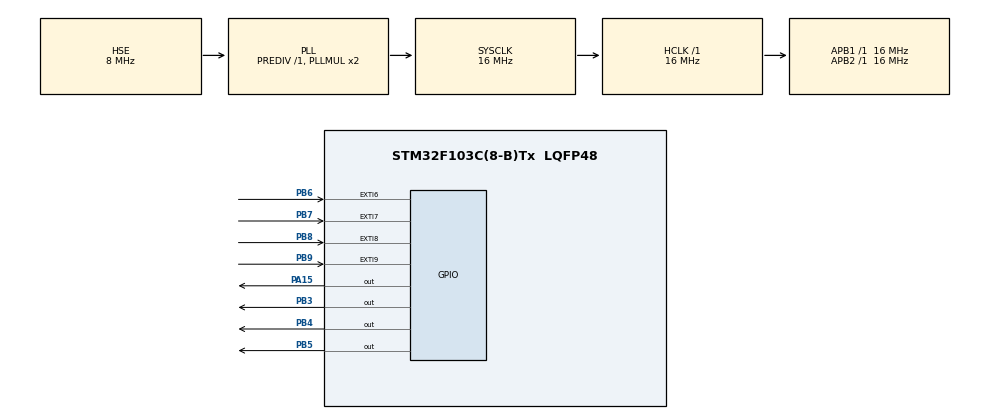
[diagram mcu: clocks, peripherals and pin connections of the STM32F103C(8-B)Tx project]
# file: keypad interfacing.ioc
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Mcu.Family=STM32F1
Mcu.Name=STM32F103C(8-B)Tx
Mcu.Package=LQFP48
NVIC.PriorityGroup=NVIC_PRIORITYGROUP_4
PA13.Mode=Serial_Wire
PA13.Signal=SYS_JTMS-SWDIO
PA14.Mode=Serial_Wire
PA14.Signal=SYS_JTCK-SWCLK
PA15.GPIO_Speed=GPIO_SPEED_FREQ_HIGH
PA15.Signal=GPIO_Output
PB3.GPIO_Speed=GPIO_SPEED_FREQ_HIGH
PB3.Signal=GPIO_Output
PB4.GPIO_Speed=GPIO_SPEED_FREQ_HIGH
PB4.Signal=GPIO_Output
PB5.GPIO_Speed=GPIO_SPEED_FREQ_HIGH
PB5.Signal=GPIO_Output
PB6.GPIO_PuPd=GPIO_PULLDOWN
PB6.Signal=GPXTI6
PB7.GPIO_PuPd=GPIO_PULLDOWN
PB7.Signal=GPXTI7
PB8.GPIO_PuPd=GPIO_PULLDOWN
PB8.Signal=GPXTI8
PB9.GPIO_PuPd=GPIO_PULLDOWN
PB9.Signal=GPXTI9
PD0-OSC_IN.Mode=HSE-External-Oscillator
PD0-OSC_IN.Signal=RCC_OSC_IN
PD1-OSC_OUT.Mode=HSE-External-Oscillator
PD1-OSC_OUT.Signal=RCC_OSC_OUT
ProjectManager.HeapSize=0x200
ProjectManager.StackSize=0x400
ProjectManager.TargetToolchain=STM32CubeIDE
RCC.AHBFreq_Value=16000000
RCC.APB1Freq_Value=16000000
RCC.APB1TimFreq_Value=16000000
RCC.APB2Freq_Value=16000000
RCC.APB2TimFreq_Value=16000000
RCC.HCLKFreq_Value=16000000
RCC.PLLSourceVirtual=RCC_PLLSOURCE_HSE
RCC.SYSCLKFreq_VALUE=16000000
RCC.SYSCLKSource=RCC_SYSCLKSOURCE_PLLCLK
RCC.USBFreq_Value=16000000
board=custom

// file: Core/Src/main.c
/* USER CODE BEGIN Header */
/**
  ******************************************************************************
  * @file           : main.c
  * @brief          : Main program body
  ******************************************************************************
  * @attention
  *
  * <h2><center>&copy; Copyright (c) 2021 STMicroelectronics.
  * All rights reserved.</center></h2>
  *
  * This software component is licensed by ST under BSD 3-Clause license,
  * the "License"; You may not use this file except in compliance with the
  * License. You may obtain a copy of the License at:
  *                        opensource.org/licenses/BSD-3-Clause
  *
  ******************************************************************************
  */
/* USER CODE END Header */
#include "main.h"

/* USER CODE BEGIN PV */
 GPIO_InitTypeDef GPIO_InitStructPrivate = {0};
 uint32_t previousMillis = 0;
 uint32_t currentMillis = 0;
 uint32_t keyPressed= 0;
 uint32_t key=0;
/* USER CODE END PV */

void SystemClock_Config(void);
static void MX_GPIO_Init(void);

int main(void)
{

  /* MCU Configuration--------------------------------------------------------*/

  /* Reset of all peripherals, Initializes the Flash interface and the Systick. */
  HAL_Init();

  /* Configure the system clock */
  SystemClock_Config();

  /* Initialize all configured peripherals */
  MX_GPIO_Init();
  /* USER CODE BEGIN 2 */
  HAL_GPIO_WritePin(GPIOA, GPIO_PIN_15, 1);
  HAL_GPIO_WritePin(GPIOB, GPIO_PIN_3 , 1);
  HAL_GPIO_WritePin(GPIOB, GPIO_PIN_4, 1);
  HAL_GPIO_WritePin(GPIOB, GPIO_PIN_5 , 1);

  /* USER CODE END 2 */

  /* Infinite loop */
  while (1)
  {

  }
}

void SystemClock_Config(void)
{
  RCC_OscInitTypeDef RCC_OscInitStruct = {0};
  RCC_ClkInitTypeDef RCC_ClkInitStruct = {0};

  /** Initializes the RCC Oscillators according to the specified parameters
  * in the RCC_OscInitTypeDef structure.
  */
  RCC_OscInitStruct.OscillatorType = RCC_OSCILLATORTYPE_HSE;
  RCC_OscInitStruct.HSEState = RCC_HSE_ON;
  RCC_OscInitStruct.HSEPredivValue = RCC_HSE_PREDIV_DIV1;
  RCC_OscInitStruct.HSIState = RCC_HSI_ON;
  RCC_OscInitStruct.PLL.PLLState = RCC_PLL_ON;
  RCC_OscInitStruct.PLL.PLLSource = RCC_PLLSOURCE_HSE;
  RCC_OscInitStruct.PLL.PLLMUL = RCC_PLL_MUL2;
  if (HAL_RCC_OscConfig(&RCC_OscInitStruct) != HAL_OK)
  {
    Error_Handler();
  }
  /** Initializes the CPU, AHB and APB buses clocks
  */
  RCC_ClkInitStruct.ClockType = RCC_CLOCKTYPE_HCLK|RCC_CLOCKTYPE_SYSCLK
                              |RCC_CLOCKTYPE_PCLK1|RCC_CLOCKTYPE_PCLK2;
  RCC_ClkInitStruct.SYSCLKSource = RCC_SYSCLKSOURCE_PLLCLK;
  RCC_ClkInitStruct.AHBCLKDivider = RCC_SYSCLK_DIV1;
  RCC_ClkInitStruct.APB1CLKDivider = RCC_HCLK_DIV1;
  RCC_ClkInitStruct.APB2CLKDivider = RCC_HCLK_DIV1;

  if (HAL_RCC_ClockConfig(&RCC_ClkInitStruct, FLASH_LATENCY_0) != HAL_OK)
  {
    Error_Handler();
  }
}

static void MX_GPIO_Init(void)
{
  GPIO_InitTypeDef GPIO_InitStruct = {0};

  /* GPIO Ports Clock Enable */
  __HAL_RCC_GPIOD_CLK_ENABLE();
  __HAL_RCC_GPIOA_CLK_ENABLE();
  __HAL_RCC_GPIOB_CLK_ENABLE();

  /*Configure GPIO pin Output Level */
  HAL_GPIO_WritePin(GPIOA, GPIO_PIN_15, GPIO_PIN_RESET);

  /*Configure GPIO pin Output Level */
  HAL_GPIO_WritePin(GPIOB, GPIO_PIN_3|GPIO_PIN_4|GPIO_PIN_5, GPIO_PIN_RESET);

  /*Configure GPIO pin : PA15 */
  GPIO_InitStruct.Pin = GPIO_PIN_15;
  GPIO_InitStruct.Mode = GPIO_MODE_OUTPUT_PP;
  GPIO_InitStruct.Pull = GPIO_NOPULL;
  GPIO_InitStruct.Speed = GPIO_SPEED_FREQ_HIGH;
  HAL_GPIO_Init(GPIOA, &GPIO_InitStruct);

  /*Configure GPIO pins : PB3 PB4 PB5 */
  GPIO_InitStruct.Pin = GPIO_PIN_3|GPIO_PIN_4|GPIO_PIN_5;
  GPIO_InitStruct.Mode = GPIO_MODE_OUTPUT_PP;
  GPIO_InitStruct.Pull = GPIO_NOPULL;
  GPIO_InitStruct.Speed = GPIO_SPEED_FREQ_HIGH;
  HAL_GPIO_Init(GPIOB, &GPIO_InitStruct);

  /*Configure GPIO pins : PB6 PB7 PB8 PB9 */
  GPIO_InitStruct.Pin = GPIO_PIN_6|GPIO_PIN_7|GPIO_PIN_8|GPIO_PIN_9;
  GPIO_InitStruct.Mode = GPIO_MODE_IT_RISING;
  GPIO_InitStruct.Pull = GPIO_PULLDOWN;
  HAL_GPIO_Init(GPIOB, &GPIO_InitStruct);

}

/* USER CODE BEGIN 4 */
void HAL_GPIO_EXIT_Callback(uint16_t GPIO_Pin)
{
currentMillis = HAL_GetTick();
if (currentMillis - previousMillis >10){
 /*Configure GPIO pins : PB6 PB7 PB8 PB9 to GPIO_INPUT*/
 GPIO_InitStructPrivate.Pin = GPIO_PIN_6|GPIO_PIN_7|GPIO_PIN_8|GPIO_PIN_9;
 GPIO_InitStructPrivate.Mode = GPIO_MODE_IT_RISING;
 GPIO_InitStructPrivate.Pull = GPIO_NOPULL;
 GPIO_InitStructPrivate.Speed = GPIO_SPEED_FREQ_LOW;
 HAL_GPIO_Init(GPIOB, &GPIO_InitStructPrivate);

 HAL_GPIO_WritePin(GPIOA, GPIO_PIN_15, 1);
 HAL_GPIO_WritePin(GPIOA, GPIO_PIN_3, 0);
 HAL_GPIO_WritePin(GPIOA, GPIO_PIN_4, 0);
 HAL_GPIO_WritePin(GPIOA, GPIO_PIN_5, 0);

 if(GPIO_Pin==GPIO_PIN_6 && HAL_GPIO_ReadPin(GPIOB,GPIO_PIN_6))
 {
 keyPressed=68;
 }
 if(GPIO_Pin==GPIO_PIN_7 && HAL_GPIO_ReadPin(GPIOB,GPIO_PIN_7))
 {
   keyPressed=67;
 }
 if(GPIO_Pin==GPIO_PIN_8 && HAL_GPIO_ReadPin(GPIOB,GPIO_PIN_8))
 {
   keyPressed=66;
 }
 if(GPIO_Pin==GPIO_PIN_9 && HAL_GPIO_ReadPin(GPIOB,GPIO_PIN_9))
 {
   keyPressed =65;
 }

 HAL_GPIO_WritePin(GPIOA, GPIO_PIN_15, 0);
 HAL_GPIO_WritePin(GPIOA, GPIO_PIN_3, 1);
 HAL_GPIO_WritePin(GPIOA, GPIO_PIN_4, 0);
 HAL_GPIO_WritePin(GPIOA, GPIO_PIN_5, 0);

 if(GPIO_Pin==GPIO_PIN_6 && HAL_GPIO_ReadPin(GPIOB,GPIO_PIN_6))
 {
   keyPressed=35;
 }
 if(GPIO_Pin==GPIO_PIN_7 && HAL_GPIO_ReadPin(GPIOB,GPIO_PIN_7))
 {
   keyPressed=57;
 }
 if(GPIO_Pin==GPIO_PIN_8 && HAL_GPIO_ReadPin(GPIOB,GPIO_PIN_8))
 {
   keyPressed=54;
 }
 if(GPIO_Pin==GPIO_PIN_9 && HAL_GPIO_ReadPin(GPIOB,GPIO_PIN_9))
 {
   keyPressed=51;
 }

 HAL_GPIO_WritePin(GPIOA, GPIO_PIN_15, 0);
 HAL_GPIO_WritePin(GPIOA, GPIO_PIN_3, 0);
 HAL_GPIO_WritePin(GPIOA, GPIO_PIN_4, 1);
 HAL_GPIO_WritePin(GPIOA, GPIO_PIN_5, 0);

 if(GPIO_Pin==GPIO_PIN_6 && HAL_GPIO_ReadPin(GPIOB,GPIO_PIN_6))
 {
   keyPressed=48;
 }
 if(GPIO_Pin==GPIO_PIN_7 && HAL_GPIO_ReadPin(GPIOB,GPIO_PIN_7))
 {
   keyPressed=56;
 }
 if(GPIO_Pin==GPIO_PIN_8 && HAL_GPIO_ReadPin(GPIOB,GPIO_PIN_8))
 {
   keyPressed=53;
 }
 if(GPIO_Pin==GPIO_PIN_9 && HAL_GPIO_ReadPin(GPIOB,GPIO_PIN_9))
 {
   keyPressed=50;
 }

  HAL_GPIO_WritePin(GPIOA, GPIO_PIN_15, 0);
  HAL_GPIO_WritePin(GPIOA, GPIO_PIN_3, 0);
  HAL_GPIO_WritePin(GPIOA, GPIO_PIN_4, 0);
  HAL_GPIO_WritePin(GPIOA, GPIO_PIN_5, 1);

  if(GPIO_Pin == GPIO_PIN_6 && HAL_GPIO_ReadPin(GPIOB,GPIO_PIN_6))
  {
   keyPressed=42;
  }
  if(GPIO_Pin==GPIO_PIN_7 && HAL_GPIO_ReadPin(GPIOB,GPIO_PIN_7))
  {
   keyPressed=55;
  }
  if(GPIO_Pin==GPIO_PIN_8 && HAL_GPIO_ReadPin(GPIOB,GPIO_PIN_8))
  {
   keyPressed=52;
  }
  if(GPIO_Pin==GPIO_PIN_9 && HAL_GPIO_ReadPin(GPIOB,GPIO_PIN_9))
  {
   keyPressed=49;
  }

   HAL_GPIO_WritePin(GPIOA, GPIO_PIN_15,1);
  HAL_GPIO_WritePin(GPIOA, GPIO_PIN_3, 1);
  HAL_GPIO_WritePin(GPIOA, GPIO_PIN_4, 1);
  HAL_GPIO_WritePin(GPIOA, GPIO_PIN_5, 1);
  /*Configure GPIO pins : PB6 PB7 PB8 PB9 back to EXIT*/
   GPIO_InitStructPrivate.Mode = GPIO_MODE_IT_RISING;
  GPIO_InitStructPrivate.Pull = GPIO_PULLDOWN;
   HAL_GPIO_Init(GPIOB, &GPIO_InitStructPrivate);
   previousMillis = currentMillis;

}
}
/* USER CODE END 4 */

void Error_Handler(void)
{
  __disable_irq();
  while (1)
  {
  }
}

/************************ (C) COPYRIGHT STMicroelectronics *****END OF FILE****/
